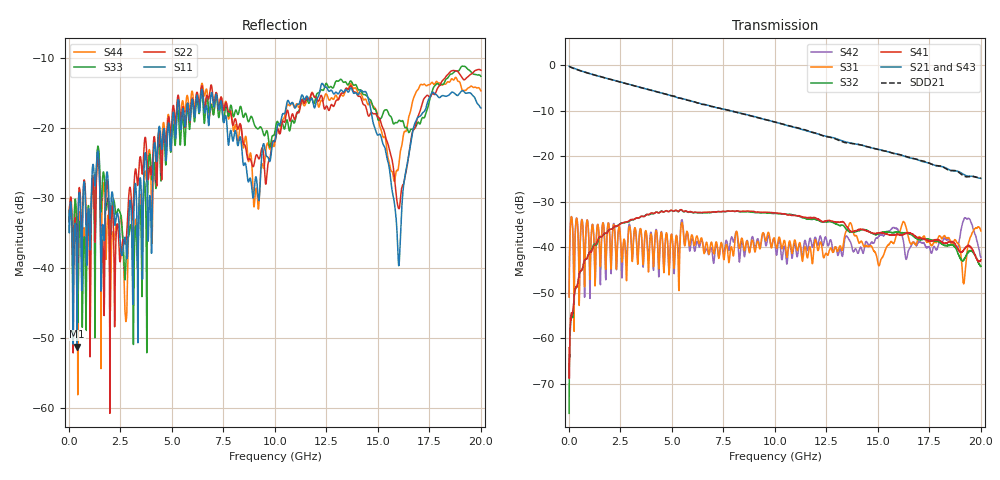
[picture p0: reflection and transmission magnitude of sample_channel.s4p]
! FILE: sample_channel.s4p
# MHz S MA R 50.00
! FREQ  S11  S12  S13  S14
!  S21  S22  S23  S24
!  S31  S32  S33  S34
!  S41  S42  S43  S44
!  MAG  ANG  MAG  ANG  MAG  ANG  MAG  ANG
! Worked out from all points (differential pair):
!   2000 points, 10 MHz to 20 GHz, reference 50 ohm
!   strongest paths, dB at 10 MHz, 5.01 GHz, 10.01 GHz, 15.01 GHz, 20 GHz:
!     S21: -0.2, -6.7, -12.5, -18.4, -24.8
!     S43: -0.3, -6.7, -12.5, -18.6, -24.8
!     S41: -62.1, -31.9, -32.4, -36.8, -42.7
!     S32: -76.5, -31.9, -32.5, -37.0, -44.2
!     S31: -50.9, -37.6, -38.6, -43.6, -36.4
!     S42: -50.8, -37.7, -39.5, -37.8, -42.2
!   taken as a pair (ports 1,3 in; 2,4 out), SDD21 dB: -0.2, -6.7, -12.5, -18.5, -24.8
!   lowest |S11| = -51.3 dB at 400 MHz (marker M1), VSWR 1.01, Z = 50 - j0.269 ohm
!   |S11| at or under -10 dB: start of sweep to end of sweep
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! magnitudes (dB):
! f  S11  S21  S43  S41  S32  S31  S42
! 10 MHz  -31.8  -0.2  -0.3  -62.1  -76.5  -50.9  -50.8
! 400 MHz  -51.3  -0.9  -1.0  -48.5  -48.5  -34.0  -34.0
! 12.32 GHz  -13.7  -15.4  -15.4  -34.4  -34.5  -41.2  -39.5
! 14.46 GHz  -15.2  -17.9  -18.0  -36.4  -36.3  -39.7  -38.8
! 16.02 GHz  -39.7  -19.6  -19.9  -37.3  -36.6  -36.9  -36.6
! 17.56 GHz  -15.4  -21.6  -21.7  -38.7  -38.4  -39.4  -41.0
! 20 GHz  -17.2  -24.8  -24.8  -42.7  -44.2  -36.4  -42.2
